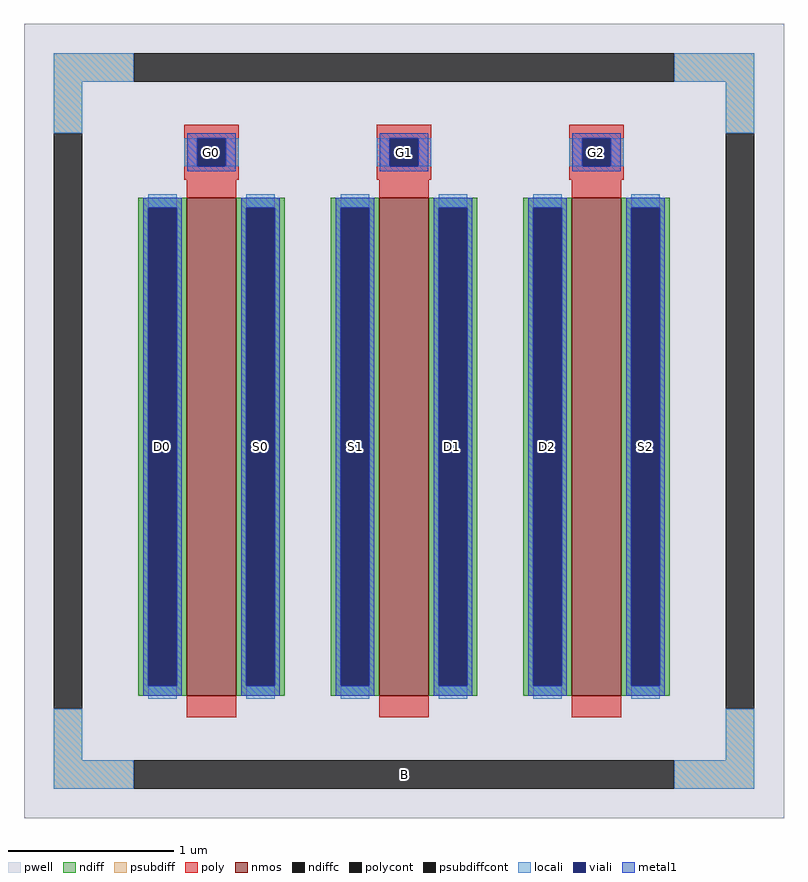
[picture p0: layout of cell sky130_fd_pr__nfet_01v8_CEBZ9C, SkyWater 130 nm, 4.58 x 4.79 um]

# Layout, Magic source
magic
tech sky130A
magscale 1 2
<< pwell >>
rect -458 -479 458 479
<< nmos >>
rect -262 -331 -202 269
rect -30 -331 30 269
rect 202 -331 262 269
<< ndiff >>
rect -320 257 -262 269
rect -320 -319 -308 257
rect -274 -319 -262 257
rect -320 -331 -262 -319
rect -202 257 -144 269
rect -202 -319 -190 257
rect -156 -319 -144 257
rect -202 -331 -144 -319
rect -88 257 -30 269
rect -88 -319 -76 257
rect -42 -319 -30 257
rect -88 -331 -30 -319
rect 30 257 88 269
rect 30 -319 42 257
rect 76 -319 88 257
rect 30 -331 88 -319
rect 144 257 202 269
rect 144 -319 156 257
rect 190 -319 202 257
rect 144 -331 202 -319
rect 262 257 320 269
rect 262 -319 274 257
rect 308 -319 320 257
rect 262 -331 320 -319
<< ndiffc >>
rect -308 -319 -274 257
rect -190 -319 -156 257
rect -76 -319 -42 257
rect 42 -319 76 257
rect 156 -319 190 257
rect 274 -319 308 257
<< psubdiff >>
rect -422 409 -326 443
rect 326 409 422 443
rect -422 347 -388 409
rect 388 347 422 409
rect -422 -409 -388 -347
rect 388 -409 422 -347
rect -422 -443 -326 -409
rect 326 -443 422 -409
<< psubdiffcont >>
rect -326 409 326 443
rect -422 -347 -388 347
rect 388 -347 422 347
rect -326 -443 326 -409
<< poly >>
rect -265 341 -199 357
rect -265 307 -249 341
rect -215 307 -199 341
rect -265 291 -199 307
rect -33 341 33 357
rect -33 307 -17 341
rect 17 307 33 341
rect -33 291 33 307
rect 199 341 265 357
rect 199 307 215 341
rect 249 307 265 341
rect 199 291 265 307
rect -262 269 -202 291
rect -30 269 30 291
rect 202 269 262 291
rect -262 -357 -202 -331
rect -30 -357 30 -331
rect 202 -357 262 -331
<< polycont >>
rect -249 307 -215 341
rect -17 307 17 341
rect 215 307 249 341
<< locali >>
rect -422 409 -326 443
rect 326 409 422 443
rect -422 347 -388 409
rect 388 347 422 409
rect -265 307 -249 341
rect -215 307 -199 341
rect -33 307 -17 341
rect 17 307 33 341
rect 199 307 215 341
rect 249 307 265 341
rect -308 257 -274 273
rect -308 -335 -274 -319
rect -190 257 -156 273
rect -190 -335 -156 -319
rect -76 257 -42 273
rect -76 -335 -42 -319
rect 42 257 76 273
rect 42 -335 76 -319
rect 156 257 190 273
rect 156 -335 190 -319
rect 274 257 308 273
rect 274 -335 308 -319
rect -422 -409 -388 -347
rect 388 -409 422 -347
rect -422 -443 -326 -409
rect 326 -443 422 -409
<< viali >>
rect -249 307 -215 341
rect -17 307 17 341
rect 215 307 249 341
rect -308 -319 -274 257
rect -190 -319 -156 257
rect -76 -319 -42 257
rect 42 -319 76 257
rect 156 -319 190 257
rect 274 -319 308 257
<< metal1 >>
rect -261 341 -203 347
rect -261 307 -249 341
rect -215 307 -203 341
rect -261 301 -203 307
rect -29 341 29 347
rect -29 307 -17 341
rect 17 307 29 341
rect -29 301 29 307
rect 203 341 261 347
rect 203 307 215 341
rect 249 307 261 341
rect 203 301 261 307
rect -314 257 -268 269
rect -314 -319 -308 257
rect -274 -319 -268 257
rect -314 -331 -268 -319
rect -196 257 -150 269
rect -196 -319 -190 257
rect -156 -319 -150 257
rect -196 -331 -150 -319
rect -82 257 -36 269
rect -82 -319 -76 257
rect -42 -319 -36 257
rect -82 -331 -36 -319
rect 36 257 82 269
rect 36 -319 42 257
rect 76 -319 82 257
rect 36 -331 82 -319
rect 150 257 196 269
rect 150 -319 156 257
rect 190 -319 196 257
rect 150 -331 196 -319
rect 268 257 314 269
rect 268 -319 274 257
rect 308 -319 314 257
rect 268 -331 314 -319
<< labels >>
rlabel psubdiffcont 0 -426 0 -426 0 B
port 1 nsew
rlabel ndiffc -291 -31 -291 -31 0 D0
port 2 nsew
rlabel ndiffc -173 -31 -173 -31 0 S0
port 3 nsew
rlabel polycont -232 324 -232 324 0 G0
port 4 nsew
rlabel ndiffc 59 -31 59 -31 0 D1
port 5 nsew
rlabel ndiffc -59 -31 -59 -31 0 S1
port 6 nsew
rlabel polycont 0 324 0 324 0 G1
port 7 nsew
rlabel ndiffc 173 -31 173 -31 0 D2
port 8 nsew
rlabel ndiffc 291 -31 291 -31 0 S2
port 9 nsew
rlabel polycont 232 324 232 324 0 G2
port 10 nsew
<< properties >>
string FIXED_BBOX -405 -426 405 426
string gencell sky130_fd_pr__nfet_01v8
string library sky130
string parameters w 3 l 0.3 m 1 nf 3 diffcov 100 polycov 100 guard 1 glc 1 grc 1 gtc 1 gbc 1 tbcov 100 rlcov 100 topc 1 botc 0 poverlap 0 doverlap 0 lmin 0.15 wmin 0.42 class mosfet compatible {sky130_fd_pr__nfet_01v8 sky130_fd_pr__nfet_01v8_lvt  sky130_fd_bs_flash__special_sonosfet_star  sky130_fd_pr__nfet_g5v0d10v5 sky130_fd_pr__nfet_05v0_nvt  sky130_fd_pr__nfet_03v3_nvt} full_metal 1 conn_gates 0 viasrc 100 viadrn 100 viagate 100 viagb 0 viagr 0 viagl 0 viagt 0 doports 1
<< end >>
